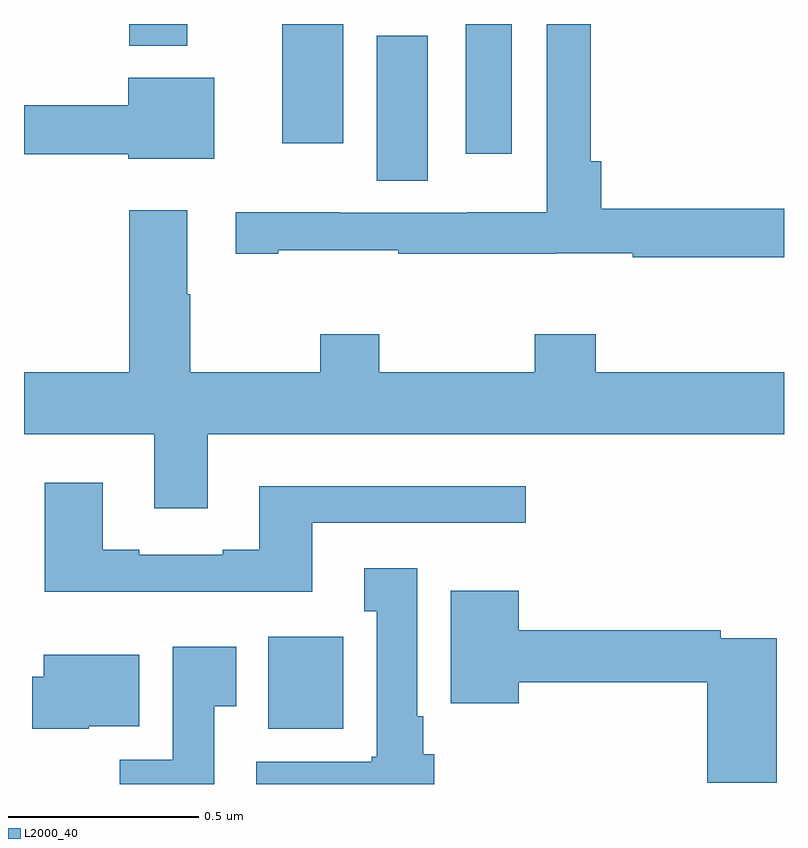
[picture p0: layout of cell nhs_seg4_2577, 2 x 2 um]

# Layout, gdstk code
import gdstk
lib = gdstk.Library(unit=1e-6, precision=1e-09)
def R(c, l, rs):  # rectangles x0, y0, x1, y1
    for r in rs: c.add(gdstk.rectangle(r[:2], r[2:], *l))
def P(c, l, *ps):  # polygons
    for p in ps: c.add(gdstk.Polygon(p, *l))
L2000_40 = (2000, 40)

nhs_seg4_2577 = lib.new_cell('nhs_seg4_2577')
R(nhs_seg4_2577, L2000_40, [(142.643,796.046,142.84,796.288), (142.928,797.488,143.062,797.869), (143.162,797.559,143.284,797.9), (142.679,797.586,142.84,797.9), (142.277,797.843,142.429,797.9)])
P(nhs_seg4_2577, L2000_40, [(144,797.414),(143.519,797.414),(143.519,797.539),(143.492,797.539),(143.492,797.9),(143.376,797.9),(143.376,797.404),(143.166,797.404),(143.166,797.403),(142.832,797.403),(142.832,797.405),(142.557,797.405),(142.557,797.295),(142.669,797.295),(142.669,797.305),(142.985,797.305),(142.985,797.295),(143.4,797.295),(143.4,797.297),(143.602,797.297),(143.602,797.286),(144,797.286)],
  [(142.501,797.758),(142.274,797.758),(142.274,797.686),(142,797.686),(142,797.557),(142.274,797.557),(142.274,797.546),(142.501,797.546)],
  [(144,796.984),(143.504,796.984),(143.504,797.083),(143.344,797.083),(143.344,796.984),(142.935,796.984),(142.935,797.083),(142.78,797.083),(142.78,796.984),(142.437,796.984),(142.437,797.189),(142.429,797.189),(142.429,797.41),(142.277,797.41),(142.277,796.984),(142,796.984),(142,796.82),(142.343,796.82),(142.343,796.626),(142.483,796.626),(142.483,796.82),(144,796.82)],
  [(142.759,796.587),(143.32,796.587),(143.32,796.684),(142.619,796.684),(142.619,796.516),(142.523,796.516),(142.523,796.503),(142.303,796.503),(142.303,796.516),(142.207,796.516),(142.207,796.693),(142.055,796.693),(142.055,796.406),(142.759,796.406)],
  [(143.08,795.978),(143.05,795.978),(143.05,796.078),(143.035,796.078),(143.035,796.468),(142.895,796.468),(142.895,796.355),(142.928,796.355),(142.928,795.972),(142.915,795.972),(142.915,795.958),(142.611,795.958),(142.611,795.9),(143.08,795.9)],
  [(143.981,796.284),(143.834,796.284),(143.834,796.304),(143.302,796.304),(143.302,796.408),(143.123,796.408),(143.123,796.112),(143.302,796.112),(143.302,796.168),(143.798,796.168),(143.798,795.903),(143.981,795.903)],
  [(142.501,796.105),(142.558,796.105),(142.558,796.261),(142.391,796.261),(142.391,795.964),(142.252,795.964),(142.252,795.9),(142.501,795.9)],
  [(142.17,796.052),(142.303,796.052),(142.303,796.24),(142.052,796.24),(142.052,796.182),(142.022,796.182),(142.022,796.046),(142.17,796.046)])

lib.write_gds('nhs_seg4_2577.gds')
